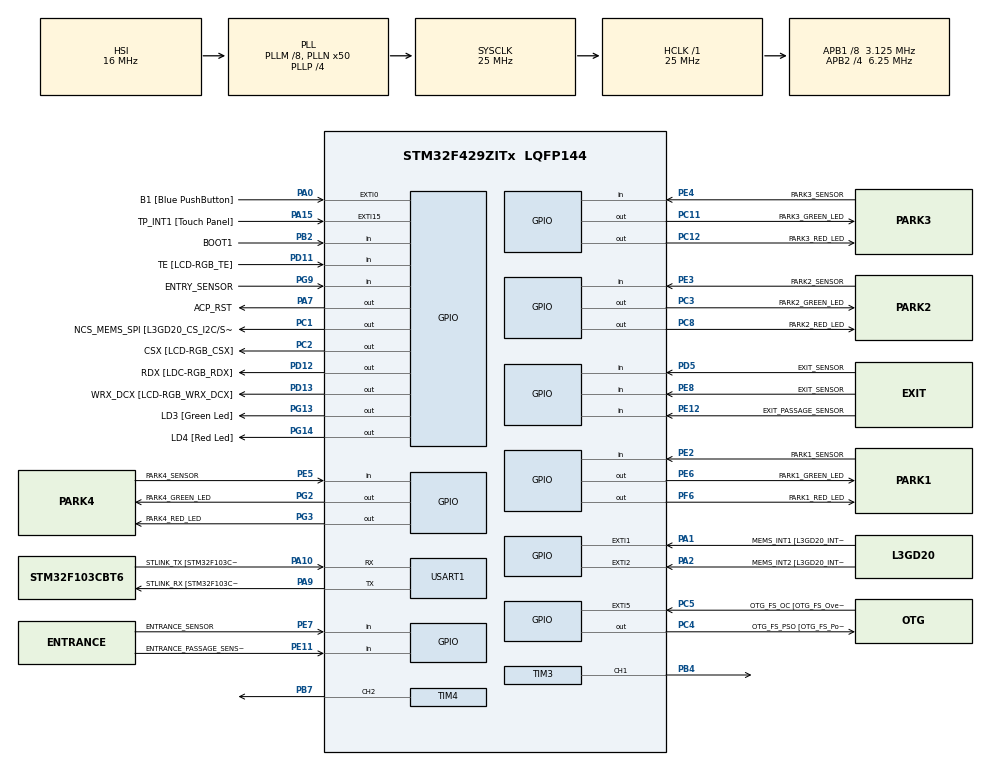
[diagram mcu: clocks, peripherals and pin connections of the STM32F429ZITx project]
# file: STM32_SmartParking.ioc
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Mcu.Family=STM32F4
Mcu.Name=STM32F429ZITx
Mcu.Package=LQFP144
NVIC.PriorityGroup=NVIC_PRIORITYGROUP_0
PA0/WKUP.GPIO_Label=B1 [Blue PushButton]
PA0/WKUP.GPIO_ModeDefaultEXTI=GPIO_MODE_EVT_RISING
PA0/WKUP.GPIO_PuPd=GPIO_NOPULL
PA0/WKUP.Signal=GPXTI0
PA1.GPIO_Label=MEMS_INT1 [L3GD20_INT1]
PA1.GPIO_ModeDefaultEXTI=GPIO_MODE_EVT_RISING
PA1.GPIO_PuPd=GPIO_NOPULL
PA1.Signal=GPXTI1
PA10.GPIO_Label=STLINK_TX [STM32F103CBT6_PA2]
PA10.Mode=Asynchronous
PA10.Signal=USART1_RX
PA11.GPIO_Label=R4
PA11.GPIO_Mode=GPIO_MODE_AF_PP
PA11.GPIO_PuPd=GPIO_NOPULL
PA11.GPIO_Speed=GPIO_SPEED_FREQ_LOW
PA11.Signal=LTDC_R4
PA12.GPIO_Label=R5
PA12.GPIO_Mode=GPIO_MODE_AF_PP
PA12.GPIO_PuPd=GPIO_NOPULL
PA12.GPIO_Speed=GPIO_SPEED_FREQ_LOW
PA12.Signal=LTDC_R5
PA13.GPIO_Label=SWDIO
PA13.Mode=Serial_Wire
PA13.Signal=SYS_JTMS-SWDIO
PA14.GPIO_Label=SWCLK
PA14.Mode=Serial_Wire
PA14.Signal=SYS_JTCK-SWCLK
PA15.GPIO_Label=TP_INT1 [Touch Panel]
PA15.GPIO_ModeDefaultEXTI=GPIO_MODE_EVT_RISING
PA15.GPIO_PuPd=GPIO_NOPULL
PA15.Signal=GPXTI15
PA2.GPIO_Label=MEMS_INT2 [L3GD20_INT2]
PA2.GPIO_ModeDefaultEXTI=GPIO_MODE_EVT_RISING
PA2.GPIO_PuPd=GPIO_NOPULL
PA2.Signal=GPXTI2
PA3.GPIO_Label=B5
PA3.GPIO_Mode=GPIO_MODE_AF_PP
PA3.GPIO_PuPd=GPIO_NOPULL
PA3.GPIO_Speed=GPIO_SPEED_FREQ_LOW
PA3.Signal=LTDC_B5
PA4.GPIO_Label=VSYNC
PA4.GPIO_Mode=GPIO_MODE_AF_PP
PA4.GPIO_PuPd=GPIO_NOPULL
PA4.GPIO_Speed=GPIO_SPEED_FREQ_LOW
PA4.Signal=LTDC_VSYNC
PA6.GPIO_Label=G2
PA6.GPIO_Mode=GPIO_MODE_AF_PP
PA6.GPIO_PuPd=GPIO_NOPULL
PA6.GPIO_Speed=GPIO_SPEED_FREQ_LOW
PA6.Signal=LTDC_G2
PA7.GPIO_Label=ACP_RST
PA7.GPIO_Mode=GPIO_MODE_OUTPUT_PP
PA7.GPIO_PuPd=GPIO_NOPULL
PA7.GPIO_Speed=GPIO_SPEED_FREQ_LOW
PA7.Signal=GPIO_Output
PA8.GPIO_Label=I2C3_SCL [ACP/RF_SCL]
PA8.GPIO_Mode=GPIO_MODE_AF_OD
PA8.GPIO_PuPd=GPIO_NOPULL
PA8.GPIO_Speed=GPIO_SPEED_FREQ_LOW
PA8.Signal=I2C3_SCL
PA9.GPIO_Label=STLINK_RX [STM32F103CBT6_PA3]
PA9.Mode=Asynchronous
PA9.Signal=USART1_TX
PA9.Stacked=true
PB0.GPIO_Label=R3
PB0.GPIO_Mode=GPIO_MODE_AF_PP
PB0.GPIO_PuPd=GPIO_NOPULL
PB0.GPIO_Speed=GPIO_SPEED_FREQ_LOW
PB0.Signal=LTDC_R3
PB1.GPIO_Label=R6
PB1.GPIO_Mode=GPIO_MODE_AF_PP
PB1.GPIO_PuPd=GPIO_NOPULL
PB1.GPIO_Speed=GPIO_SPEED_FREQ_LOW
PB1.Signal=LTDC_R6
PB10.GPIO_Label=G4
PB10.GPIO_Mode=GPIO_MODE_AF_PP
PB10.GPIO_PuPd=GPIO_NOPULL
PB10.GPIO_Speed=GPIO_SPEED_FREQ_LOW
PB10.Signal=LTDC_G4
PB11.GPIO_Label=G5
PB11.GPIO_Mode=GPIO_MODE_AF_PP
PB11.GPIO_PuPd=GPIO_NOPULL
PB11.GPIO_Speed=GPIO_SPEED_FREQ_LOW
PB11.Signal=LTDC_G5
PB12.GPIO_Label=OTG_HS_ID
PB12.GPIO_Mode=GPIO_MODE_AF_PP
PB12.GPIO_PuPd=GPIO_NOPULL
PB12.GPIO_Speed=GPIO_SPEED_FREQ_LOW
PB12.Signal=USB_OTG_HS_ID
PB13.GPIO_Label=VBUS_HS
PB13.GPIO_Mode=GPIO_MODE_INPUT
PB13.GPIO_PuPd=GPIO_NOPULL
PB13.Signal=USB_OTG_HS_VBUS
PB14.GPIO_Label=OTG_HS_DM
PB14.GPIO_Mode=GPIO_MODE_AF_PP
PB14.GPIO_PuPd=GPIO_NOPULL
PB14.GPIO_Speed=GPIO_SPEED_FREQ_LOW
PB14.Signal=USB_OTG_HS_DM
PB15.GPIO_Label=OTG_HS_DP
PB15.GPIO_Mode=GPIO_MODE_AF_PP
PB15.GPIO_PuPd=GPIO_NOPULL
PB15.GPIO_Speed=GPIO_SPEED_FREQ_LOW
PB15.Signal=USB_OTG_HS_DP
PB2/BOOT1.GPIO_Label=BOOT1
PB2/BOOT1.GPIO_Mode=GPIO_MODE_INPUT
PB2/BOOT1.GPIO_PuPd=GPIO_NOPULL
PB2/BOOT1.Signal=GPIO_Input
PB4.Signal=S_TIM3_CH1
PB5.GPIO_Label=SDCKE1
PB5.GPIO_Mode=GPIO_MODE_AF_PP
PB5.GPIO_PuPd=GPIO_NOPULL
PB5.GPIO_Speed=GPIO_SPEED_FREQ_VERY_HIGH
PB5.Signal=FMC_SDCKE1
PB6.GPIO_Label=SDNE1 [SDRAM_CS]
PB6.GPIO_Mode=GPIO_MODE_AF_PP
PB6.GPIO_PuPd=GPIO_NOPULL
PB6.GPIO_Speed=GPIO_SPEED_FREQ_VERY_HIGH
PB6.Signal=FMC_SDNE1
PB7.Signal=S_TIM4_CH2
PB8.GPIO_Label=B6
PB8.GPIO_Mode=GPIO_MODE_AF_PP
PB8.GPIO_PuPd=GPIO_NOPULL
PB8.GPIO_Speed=GPIO_SPEED_FREQ_LOW
PB8.Signal=LTDC_B6
PB9.GPIO_Label=B7
PB9.GPIO_Mode=GPIO_MODE_AF_PP
PB9.GPIO_PuPd=GPIO_NOPULL
PB9.GPIO_Speed=GPIO_SPEED_FREQ_LOW
PB9.Signal=LTDC_B7
PC0.GPIO_Label=SDNWE
PC0.GPIO_Mode=GPIO_MODE_AF_PP
PC0.GPIO_PuPd=GPIO_NOPULL
PC0.GPIO_Speed=GPIO_SPEED_FREQ_VERY_HIGH
PC0.Signal=FMC_SDNWE
PC1.GPIO_Label=NCS_MEMS_SPI [L3GD20_CS_I2C/SPI]
PC1.GPIO_Mode=GPIO_MODE_OUTPUT_PP
PC1.GPIO_PuPd=GPIO_NOPULL
PC1.GPIO_Speed=GPIO_SPEED_FREQ_LOW
PC1.Signal=GPIO_Output
PC10.GPIO_Label=R2
PC10.GPIO_Mode=GPIO_MODE_AF_PP
PC10.GPIO_PuPd=GPIO_NOPULL
PC10.GPIO_Speed=GPIO_SPEED_FREQ_LOW
PC10.Signal=LTDC_R2
PC11.GPIO_Label=PARK3_GREEN_LED
PC11.Signal=GPIO_Output
PC12.GPIO_Label=PARK3_RED_LED
PC12.Signal=GPIO_Output
PC14/OSC32_IN.GPIO_Label=PC14-OSC32_IN
PC14/OSC32_IN.Signal=RCC_OSC32_IN
PC15/OSC32_OUT.GPIO_Label=PC15-OSC32_OUT
PC15/OSC32_OUT.Signal=RCC_OSC32_OUT
PC2.GPIO_Label=CSX [LCD-RGB_CSX]
PC2.GPIO_Mode=GPIO_MODE_OUTPUT_PP
PC2.GPIO_PuPd=GPIO_NOPULL
PC2.GPIO_Speed=GPIO_SPEED_FREQ_LOW
PC2.Signal=GPIO_Output
PC3.GPIO_Label=PARK2_GREEN_LED
PC3.Signal=GPIO_Output
PC4.GPIO_Label=OTG_FS_PSO [OTG_FS_PowerSwitchOn]
PC4.GPIO_Mode=GPIO_MODE_OUTPUT_PP
PC4.GPIO_PuPd=GPIO_NOPULL
PC4.GPIO_Speed=GPIO_SPEED_FREQ_LOW
PC4.Signal=GPIO_Output
PC5.GPIO_Label=OTG_FS_OC [OTG_FS_OverCurrent]
PC5.GPIO_ModeDefaultEXTI=GPIO_MODE_EVT_RISING
PC5.Signal=GPXTI5
PC6.GPIO_Label=HSYNC
PC6.GPIO_Mode=GPIO_MODE_AF_PP
PC6.GPIO_PuPd=GPIO_NOPULL
PC6.GPIO_Speed=GPIO_SPEED_FREQ_LOW
PC6.Signal=LTDC_HSYNC
PC7.GPIO_Label=G6
PC7.GPIO_Mode=GPIO_MODE_AF_PP
PC7.GPIO_PuPd=GPIO_NOPULL
PC7.GPIO_Speed=GPIO_SPEED_FREQ_LOW
PC7.Signal=LTDC_G6
PC8.GPIO_Label=PARK2_RED_LED
PC8.Signal=GPIO_Output
PC9.GPIO_Label=I2C3_SDA [ACP/RF_SDA]
PC9.GPIO_Mode=GPIO_MODE_AF_OD
PC9.GPIO_PuPd=GPIO_NOPULL
PC9.GPIO_Speed=GPIO_SPEED_FREQ_LOW
PC9.Signal=I2C3_SDA
PD0.GPIO_Label=D2
PD0.GPIO_Mode=GPIO_MODE_AF_PP
PD0.GPIO_PuPd=GPIO_NOPULL
PD0.GPIO_Speed=GPIO_SPEED_FREQ_VERY_HIGH
PD0.Signal=FMC_D2_DA2
PD1.GPIO_Label=D3
PD1.GPIO_Mode=GPIO_MODE_AF_PP
PD1.GPIO_PuPd=GPIO_NOPULL
PD1.GPIO_Speed=GPIO_SPEED_FREQ_VERY_HIGH
PD1.Signal=FMC_D3_DA3
PD10.GPIO_Label=D15
PD10.GPIO_Mode=GPIO_MODE_AF_PP
PD10.GPIO_PuPd=GPIO_NOPULL
PD10.GPIO_Speed=GPIO_SPEED_FREQ_VERY_HIGH
PD10.Signal=FMC_D15_DA15
PD11.GPIO_Label=TE [LCD-RGB_TE]
PD11.GPIO_Mode=GPIO_MODE_INPUT
PD11.GPIO_PuPd=GPIO_NOPULL
PD11.Signal=GPIO_Input
PD12.GPIO_Label=RDX [LDC-RGB_RDX]
PD12.GPIO_Mode=GPIO_MODE_OUTPUT_PP
PD12.GPIO_PuPd=GPIO_NOPULL
PD12.GPIO_Speed=GPIO_SPEED_FREQ_LOW
PD12.Signal=GPIO_Output
PD13.GPIO_Label=WRX_DCX [LCD-RGB_WRX_DCX]
PD13.GPIO_Mode=GPIO_MODE_OUTPUT_PP
PD13.GPIO_PuPd=GPIO_NOPULL
PD13.GPIO_Speed=GPIO_SPEED_FREQ_LOW
PD13.Signal=GPIO_Output
PD14.GPIO_Label=D0
PD14.GPIO_Mode=GPIO_MODE_AF_PP
PD14.GPIO_PuPd=GPIO_NOPULL
PD14.GPIO_Speed=GPIO_SPEED_FREQ_VERY_HIGH
PD14.Signal=FMC_D0_DA0
PD15.GPIO_Label=D1
PD15.GPIO_Mode=GPIO_MODE_AF_PP
PD15.GPIO_PuPd=GPIO_NOPULL
PD15.GPIO_Speed=GPIO_SPEED_FREQ_VERY_HIGH
PD15.Signal=FMC_D1_DA1
PD3.GPIO_Label=G7
PD3.GPIO_Mode=GPIO_MODE_AF_PP
PD3.GPIO_PuPd=GPIO_NOPULL
PD3.GPIO_Speed=GPIO_SPEED_FREQ_LOW
PD3.Signal=LTDC_G7
PD5.GPIO_Label=EXIT_SENSOR
PD5.Signal=GPIO_Input
PD6.GPIO_Label=B2
PD6.GPIO_Mode=GPIO_MODE_AF_PP
PD6.GPIO_PuPd=GPIO_NOPULL
PD6.GPIO_Speed=GPIO_SPEED_FREQ_LOW
PD6.Signal=LTDC_B2
PD8.GPIO_Label=D13
PD8.GPIO_Mode=GPIO_MODE_AF_PP
PD8.GPIO_PuPd=GPIO_NOPULL
PD8.GPIO_Speed=GPIO_SPEED_FREQ_VERY_HIGH
PD8.Signal=FMC_D13_DA13
PD9.GPIO_Label=D14
PD9.GPIO_Mode=GPIO_MODE_AF_PP
PD9.GPIO_PuPd=GPIO_NOPULL
PD9.GPIO_Speed=GPIO_SPEED_FREQ_VERY_HIGH
PD9.Signal=FMC_D14_DA14
PE0.GPIO_Label=NBL0 [SDRAM_LDQM]
PE0.GPIO_Mode=GPIO_MODE_AF_PP
PE0.GPIO_PuPd=GPIO_NOPULL
PE0.GPIO_Speed=GPIO_SPEED_FREQ_VERY_HIGH
PE0.Signal=FMC_NBL0
PE1.GPIO_Label=NBL1 [SDRAM_UDQM]
PE1.GPIO_Mode=GPIO_MODE_AF_PP
PE1.GPIO_PuPd=GPIO_NOPULL
PE1.GPIO_Speed=GPIO_SPEED_FREQ_VERY_HIGH
PE1.Signal=FMC_NBL1
PE10.GPIO_Label=D7
PE10.GPIO_Mode=GPIO_MODE_AF_PP
PE10.GPIO_PuPd=GPIO_NOPULL
PE10.GPIO_Speed=GPIO_SPEED_FREQ_VERY_HIGH
PE10.Signal=FMC_D7_DA7
PE11.GPIO_Label=ENTRANCE_PASSAGE_SENSOR
PE11.GPIO_PuPd=GPIO_PULLUP
PE11.Signal=GPIO_Input
PE12.GPIO_Label=EXIT_PASSAGE_SENSOR
PE12.GPIO_PuPd=GPIO_PULLUP
PE12.Signal=GPIO_Input
PE13.GPIO_Label=D10
PE13.GPIO_Mode=GPIO_MODE_AF_PP
PE13.GPIO_PuPd=GPIO_NOPULL
PE13.GPIO_Speed=GPIO_SPEED_FREQ_VERY_HIGH
PE13.Signal=FMC_D10_DA10
PE14.GPIO_Label=D11
PE14.GPIO_Mode=GPIO_MODE_AF_PP
PE14.GPIO_PuPd=GPIO_NOPULL
PE14.GPIO_Speed=GPIO_SPEED_FREQ_VERY_HIGH
PE14.Signal=FMC_D11_DA11
PE15.GPIO_Label=D12
PE15.GPIO_Mode=GPIO_MODE_AF_PP
PE15.GPIO_PuPd=GPIO_NOPULL
PE15.GPIO_Speed=GPIO_SPEED_FREQ_VERY_HIGH
PE15.Signal=FMC_D12_DA12
PE2.GPIO_Label=PARK1_SENSOR
PE2.Signal=GPIO_Input
PE3.GPIO_Label=PARK2_SENSOR
PE3.Signal=GPIO_Input
PE4.GPIO_Label=PARK3_SENSOR
PE4.Signal=GPIO_Input
PE5.GPIO_Label=PARK4_SENSOR
PE5.Signal=GPIO_Input
PE6.GPIO_Label=PARK1_GREEN_LED
PE6.Signal=GPIO_Output
PE7.GPIO_Label=ENTRANCE_SENSOR
PE7.GPIO_PuPd=GPIO_PULLUP
PE7.Signal=GPIO_Input
PE8.GPIO_Label=EXIT_SENSOR
PE8.GPIO_PuPd=GPIO_PULLUP
PE8.Signal=GPIO_Input
PE9.GPIO_Label=D6
PE9.GPIO_Mode=GPIO_MODE_AF_PP
PE9.GPIO_PuPd=GPIO_NOPULL
PE9.GPIO_Speed=GPIO_SPEED_FREQ_VERY_HIGH
PE9.Signal=FMC_D6_DA6
PF0.GPIO_Label=A0
PF0.GPIO_Mode=GPIO_MODE_AF_PP
PF0.GPIO_PuPd=GPIO_NOPULL
PF0.GPIO_Speed=GPIO_SPEED_FREQ_VERY_HIGH
PF0.Signal=FMC_A0
PF1.GPIO_Label=A1
PF1.GPIO_Mode=GPIO_MODE_AF_PP
PF1.GPIO_PuPd=GPIO_NOPULL
PF1.GPIO_Speed=GPIO_SPEED_FREQ_VERY_HIGH
PF1.Signal=FMC_A1
PF10.GPIO_Label=ENABLE [LCD-RGB_ENABLE]
PF10.GPIO_Mode=GPIO_MODE_AF_PP
PF10.GPIO_PuPd=GPIO_NOPULL
PF10.GPIO_Speed=GPIO_SPEED_FREQ_LOW
PF10.Signal=LTDC_DE
PF11.GPIO_Label=SDNRAS
PF11.GPIO_Mode=GPIO_MODE_AF_PP
PF11.GPIO_PuPd=GPIO_NOPULL
PF11.GPIO_Speed=GPIO_SPEED_FREQ_VERY_HIGH
PF11.Signal=FMC_SDNRAS
PF12.GPIO_Label=A6
PF12.GPIO_Mode=GPIO_MODE_AF_PP
PF12.GPIO_PuPd=GPIO_NOPULL
PF12.GPIO_Speed=GPIO_SPEED_FREQ_VERY_HIGH
PF12.Signal=FMC_A6
PF13.GPIO_Label=A7
PF13.GPIO_Mode=GPIO_MODE_AF_PP
PF13.GPIO_PuPd=GPIO_NOPULL
PF13.GPIO_Speed=GPIO_SPEED_FREQ_VERY_HIGH
PF13.Signal=FMC_A7
PF14.GPIO_Label=A8
PF14.GPIO_Mode=GPIO_MODE_AF_PP
PF14.GPIO_PuPd=GPIO_NOPULL
PF14.GPIO_Speed=GPIO_SPEED_FREQ_VERY_HIGH
PF14.Signal=FMC_A8
PF15.GPIO_Label=A9
PF15.GPIO_Mode=GPIO_MODE_AF_PP
PF15.GPIO_PuPd=GPIO_NOPULL
PF15.GPIO_Speed=GPIO_SPEED_FREQ_VERY_HIGH
PF15.Signal=FMC_A9
PF2.GPIO_Label=A2
PF2.GPIO_Mode=GPIO_MODE_AF_PP
PF2.GPIO_PuPd=GPIO_NOPULL
PF2.GPIO_Speed=GPIO_SPEED_FREQ_VERY_HIGH
PF2.Signal=FMC_A2
PF3.GPIO_Label=A3
PF3.GPIO_Mode=GPIO_MODE_AF_PP
PF3.GPIO_PuPd=GPIO_NOPULL
PF3.GPIO_Speed=GPIO_SPEED_FREQ_VERY_HIGH
PF3.Signal=FMC_A3
PF4.GPIO_Label=A4
PF4.GPIO_Mode=GPIO_MODE_AF_PP
PF4.GPIO_PuPd=GPIO_NOPULL
PF4.GPIO_Speed=GPIO_SPEED_FREQ_VERY_HIGH
PF4.Signal=FMC_A4
PF5.GPIO_Label=A5
PF5.GPIO_Mode=GPIO_MODE_AF_PP
PF5.GPIO_PuPd=GPIO_NOPULL
PF5.GPIO_Speed=GPIO_SPEED_FREQ_VERY_HIGH
PF5.Signal=FMC_A5
PF6.GPIO_Label=PARK1_RED_LED
PF6.GPIO_ModeDefaultOutputPP=GPIO_MODE_OUTPUT_PP
PF6.GPIO_PuPd=GPIO_NOPULL
PF6.Signal=GPIO_Output
PF7.GPIO_Label=SPI5_SCK [L3GD20_SCL/SPC]
PF7.GPIO_Mode=GPIO_MODE_AF_PP
PF7.GPIO_PuPd=GPIO_NOPULL
PF7.GPIO_Speed=GPIO_SPEED_FREQ_LOW
PF7.Signal=SPI5_SCK
PF8.GPIO_Label=SPI5_MISO [L3GD20_SDO]
PF8.GPIO_Mode=GPIO_MODE_AF_PP
PF8.GPIO_PuPd=GPIO_NOPULL
PF8.GPIO_Speed=GPIO_SPEED_FREQ_LOW
PF8.Signal=SPI5_MISO
PF9.GPIO_Label=SPI5_MOSI [L3GD20_SDA/SDI/SDO]
PF9.GPIO_Mode=GPIO_MODE_AF_PP
PF9.GPIO_PuPd=GPIO_NOPULL
PF9.GPIO_Speed=GPIO_SPEED_FREQ_LOW
PF9.Signal=SPI5_MOSI
PG0.GPIO_Label=A10
PG0.GPIO_Mode=GPIO_MODE_AF_PP
PG0.GPIO_PuPd=GPIO_NOPULL
PG0.GPIO_Speed=GPIO_SPEED_FREQ_VERY_HIGH
PG0.Signal=FMC_A10
PG1.GPIO_Label=A11
PG1.GPIO_Mode=GPIO_MODE_AF_PP
PG1.GPIO_PuPd=GPIO_NOPULL
PG1.GPIO_Speed=GPIO_SPEED_FREQ_VERY_HIGH
PG1.Signal=FMC_A11
PG10.GPIO_Label=G3
PG10.GPIO_Mode=GPIO_MODE_AF_PP
PG10.GPIO_PuPd=GPIO_NOPULL
PG10.GPIO_Speed=GPIO_SPEED_FREQ_LOW
PG10.Signal=LTDC_G3
PG11.GPIO_Label=B3
PG11.GPIO_Mode=GPIO_MODE_AF_PP
PG11.GPIO_PuPd=GPIO_NOPULL
PG11.GPIO_Speed=GPIO_SPEED_FREQ_LOW
PG11.Signal=LTDC_B3
PG12.GPIO_Label=B4
PG12.GPIO_Mode=GPIO_MODE_AF_PP
PG12.GPIO_PuPd=GPIO_NOPULL
PG12.GPIO_Speed=GPIO_SPEED_FREQ_LOW
PG12.Signal=LTDC_B4
PG13.GPIO_Label=LD3 [Green Led]
PG13.GPIO_Mode=GPIO_MODE_OUTPUT_PP
PG13.GPIO_PuPd=GPIO_NOPULL
PG13.GPIO_Speed=GPIO_SPEED_FREQ_LOW
PG13.Signal=GPIO_Output
PG14.GPIO_Label=LD4 [Red Led]
PG14.GPIO_Mode=GPIO_MODE_OUTPUT_PP
PG14.GPIO_PuPd=GPIO_NOPULL
PG14.GPIO_Speed=GPIO_SPEED_FREQ_LOW
PG14.Signal=GPIO_Output
PG15.GPIO_Label=SDNCAS
PG15.GPIO_Mode=GPIO_MODE_AF_PP
PG15.GPIO_PuPd=GPIO_NOPULL
PG15.GPIO_Speed=GPIO_SPEED_FREQ_VERY_HIGH
PG15.Signal=FMC_SDNCAS
PG2.GPIO_Label=PARK4_GREEN_LED
PG2.Signal=GPIO_Output
PG3.GPIO_Label=PARK4_RED_LED
PG3.Signal=GPIO_Output
PG4.GPIO_Label=BA0
PG4.GPIO_Mode=GPIO_MODE_AF_PP
PG4.GPIO_PuPd=GPIO_NOPULL
PG4.GPIO_Speed=GPIO_SPEED_FREQ_VERY_HIGH
PG4.Signal=FMC_A14_BA0
PG5.GPIO_Label=BA1
PG5.GPIO_Mode=GPIO_MODE_AF_PP
PG5.GPIO_PuPd=GPIO_NOPULL
PG5.GPIO_Speed=GPIO_SPEED_FREQ_VERY_HIGH
PG5.Signal=FMC_A15_BA1
PG6.GPIO_Label=R7
PG6.GPIO_Mode=GPIO_MODE_AF_PP
PG6.GPIO_PuPd=GPIO_NOPULL
PG6.GPIO_Speed=GPIO_SPEED_FREQ_LOW
PG6.Signal=LTDC_R7
PG7.GPIO_Label=DOTCLK [LCT-RGB_DOTCLK]
PG7.GPIO_Mode=GPIO_MODE_AF_PP
PG7.GPIO_PuPd=GPIO_NOPULL
PG7.GPIO_Speed=GPIO_SPEED_FREQ_LOW
PG7.Signal=LTDC_CLK
PG8.GPIO_Label=SDCLK
PG8.GPIO_Mode=GPIO_MODE_AF_PP
PG8.GPIO_PuPd=GPIO_NOPULL
PG8.GPIO_Speed=GPIO_SPEED_FREQ_VERY_HIGH
PG8.Signal=FMC_SDCLK
PG9.GPIO_Label=ENTRY_SENSOR
PG9.Signal=GPIO_Input
PH0/OSC_IN.GPIO_Label=PH0-OSC_IN
PH0/OSC_IN.Signal=RCC_OSC_IN
PH1/OSC_OUT.GPIO_Label=PH1-OSC_OUT
PH1/OSC_OUT.Signal=RCC_OSC_OUT
ProjectManager.HeapSize=0x200
ProjectManager.StackSize=0x400
ProjectManager.TargetToolchain=STM32CubeIDE
RCC.48MHZClocksFreq_Value=14285714.285714285
RCC.AHBFreq_Value=25000000
RCC.APB1CLKDivider=RCC_HCLK_DIV8
RCC.APB1Freq_Value=3125000
RCC.APB1TimFreq_Value=6250000
RCC.APB2CLKDivider=RCC_HCLK_DIV4
RCC.APB2Freq_Value=6250000
RCC.APB2TimFreq_Value=12500000
RCC.CortexFreq_Value=25000000
RCC.HCLKFreq_Value=25000000
RCC.HSE_VALUE=8000000
RCC.HSI_VALUE=16000000
RCC.LSE_VALUE=32768
RCC.PLLM=8
RCC.PLLN=50
RCC.PLLP=RCC_PLLP_DIV4
RCC.PLLQ=7
RCC.SYSCLKFreq_VALUE=25000000
RCC.SYSCLKSource=RCC_SYSCLKSOURCE_PLLCLK
RCC.VCOOutputFreq_Value=100000000
SH.FMC_A0.0=FMC_A0
SH.FMC_A1.0=FMC_A1
SH.FMC_A10.0=FMC_A10
SH.FMC_A11.0=FMC_A11
SH.FMC_A14_BA0.0=FMC_BA0
SH.FMC_A15_BA1.0=FMC_BA1
SH.FMC_A2.0=FMC_A2
SH.FMC_A3.0=FMC_A3
SH.FMC_A4.0=FMC_A4
SH.FMC_A5.0=FMC_A5
SH.FMC_A6.0=FMC_A6
SH.FMC_A7.0=FMC_A7
SH.FMC_A8.0=FMC_A8
SH.FMC_A9.0=FMC_A9
SH.FMC_D0_DA0.0=FMC_D0
SH.FMC_D10_DA10.0=FMC_D10
SH.FMC_D11_DA11.0=FMC_D11
SH.FMC_D12_DA12.0=FMC_D12
SH.FMC_D13_DA13.0=FMC_D13
SH.FMC_D14_DA14.0=FMC_D14
SH.FMC_D15_DA15.0=FMC_D15
SH.FMC_D1_DA1.0=FMC_D1
SH.FMC_D2_DA2.0=FMC_D2
SH.FMC_D3_DA3.0=FMC_D3
SH.FMC_D6_DA6.0=FMC_D6
SH.FMC_D7_DA7.0=FMC_D7
SH.FMC_NBL0.0=FMC_NBL0
SH.FMC_NBL1.0=FMC_NBL1
SH.FMC_SDCLK.0=FMC_SDCLK
SH.FMC_SDNCAS.0=FMC_SDNCAS
SH.FMC_SDNRAS.0=FMC_SDNRAS
SH.FMC_SDNWE.0=FMC_SDNWE
SH.S_TIM3_CH1.0=TIM3_CH1,PWM Generation1 CH1
SH.S_TIM4_CH2.0=TIM4_CH2,PWM Generation2 CH2
TIM3.Channel-PWM\ Generation1\ CH1=TIM_CHANNEL_1
TIM3.Period=24999
TIM3.Prescaler=4
TIM3.Pulse-PWM\ Generation1\ CH1=1250
TIM4.Channel-PWM\ Generation2\ CH2=TIM_CHANNEL_2
TIM4.Period=24999
TIM4.Prescaler=4
TIM4.Pulse-PWM\ Generation2\ CH2=1250
USART1.VirtualMode=VM_ASYNC
VP_TIM3_VS_ClockSourceINT.Mode=Internal
VP_TIM4_VS_ClockSourceINT.Mode=Internal
board=STM32F429I-DISC1

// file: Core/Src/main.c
/* USER CODE BEGIN Header */
/**
  ******************************************************************************
  * @file           : main.c
  * @brief          : Main program body
  ******************************************************************************
  * @attention
  *
  * Copyright (c) 2026 STMicroelectronics.
  * All rights reserved.
  *
  * This software is licensed under terms that can be found in the LICENSE file
  * in the root directory of this software component.
  * If no LICENSE file comes with this software, it is provided AS-IS.
  *
  ******************************************************************************
  */
/* USER CODE END Header */
#include "main.h"

/* USER CODE BEGIN Includes */
#include "parking_manager.h"
#include "barrier_controller.h"
#include "vehicle_detector.h"
/* USER CODE END Includes */

TIM_HandleTypeDef htim3;
TIM_HandleTypeDef htim4;

UART_HandleTypeDef huart1;

/* USER CODE BEGIN PV */
volatile uint8_t parking_occupancy_status = 0U;  // Variable to store the parking occupancy status
volatile uint8_t entrance_request_pending = 0U;
volatile uint8_t exit_request_pending = 0U;

ParkingManager parking_manager;

BarrierController entrance_barrier;
BarrierController exit_barrier;

VehicleDetector entrance_detector;
VehicleDetector exit_detector;

bool previous_entrance_detected = false;
bool previous_exit_detected = false;

VehicleDetector entrance_passage_detector;
VehicleDetector exit_passage_detector;

/* USER CODE END PV */

void SystemClock_Config(void);
static void MX_GPIO_Init(void);
static void MX_TIM3_Init(void);
static void MX_TIM4_Init(void);
static void MX_USART1_UART_Init(void);

int main(void)
{

  /* MCU Configuration--------------------------------------------------------*/

  /* Reset of all peripherals, Initializes the Flash interface and the Systick. */
  HAL_Init();

  /* Configure the system clock */
  SystemClock_Config();

  /* Initialize all configured peripherals */
  MX_GPIO_Init();
  MX_TIM3_Init();
  MX_TIM4_Init();
  MX_USART1_UART_Init();
  /* USER CODE BEGIN 2 */
  ParkingManager_Init(&parking_manager);

  BarrierController_Init(&entrance_barrier);
  BarrierController_Init(&exit_barrier);

  VehicleDetector_Init(
      &entrance_detector,
      ENTRANCE_SENSOR_GPIO_Port,
      ENTRANCE_SENSOR_Pin,
      GPIO_PIN_RESET
  );

  VehicleDetector_Init(
      &exit_detector,
      EXIT_SENSOR_GPIO_Port,
      EXIT_SENSOR_Pin,
      GPIO_PIN_RESET
  );

  VehicleDetector_Init(
      &entrance_passage_detector,
      ENTRANCE_PASSAGE_SENSOR_GPIO_Port,
      ENTRANCE_PASSAGE_SENSOR_Pin,
      GPIO_PIN_RESET
  );

  VehicleDetector_Init(
      &exit_passage_detector,
      EXIT_PASSAGE_SENSOR_GPIO_Port,
      EXIT_PASSAGE_SENSOR_Pin,
      GPIO_PIN_RESET
  );
  /* USER CODE END 2 */

  /* Infinite loop */
  while (1)
  {

    /* USER CODE BEGIN 3 */

      // 1. Update parking spots
      ParkingManager_Update(&parking_manager);

      // 2. Store occupancy status
      parking_occupancy_status =
          ParkingManager_GetOccupancyMask(&parking_manager);

      // 3. Read entrance and exit sensors

      // Read vehicle detection sensors
      VehicleDetector_Update(&entrance_detector);
      VehicleDetector_Update(&exit_detector);

      // Read barrier passage sensors
      VehicleDetector_Update(&entrance_passage_detector);
      VehicleDetector_Update(&exit_passage_detector);

      /* Latch reported faults before opening requests or automatic closing. */
      if (VehicleDetector_HasFault(&entrance_detector) ||
          VehicleDetector_HasFault(&entrance_passage_detector))
      {
          BarrierController_ReportSensorFault(&entrance_barrier);
      }

      if (VehicleDetector_HasFault(&exit_detector) ||
          VehicleDetector_HasFault(&exit_passage_detector))
      {
          BarrierController_ReportSensorFault(&exit_barrier);
      }

      bool entrance_detected =
          VehicleDetector_IsDetected(&entrance_detector);

      bool exit_detected =
          VehicleDetector_IsDetected(&exit_detector);

      // 4. Detect new vehicle arrival
      if (entrance_detected && !previous_entrance_detected)
      {
          entrance_request_pending = 1U;
      }

      if (exit_detected && !previous_exit_detected)
      {
          exit_request_pending = 1U;
      }

      // 5. Save previous sensor states
      previous_entrance_detected = entrance_detected;
      previous_exit_detected = exit_detected;

      // 6. Process entrance request
      if (entrance_request_pending != 0U)
      {
          entrance_request_pending = 0U;

          uint8_t available_spaces =
              ParkingManager_GetAvailableCount(&parking_manager);

          (void)BarrierController_RequestEntranceOpen(
              &entrance_barrier,
              available_spaces
          );
      }

      // 7. Process exit request
      if (exit_request_pending != 0U)
      {
          exit_request_pending = 0U;

          (void)BarrierController_RequestExitOpen(&exit_barrier);
      }

      /* Update entrance barrier passage state */
      uint32_t now_ms = HAL_GetTick();

      BarrierController_UpdatePassage(
          &entrance_barrier,
          VehicleDetector_IsDetected(&entrance_passage_detector),
          now_ms
      );

      BarrierController_UpdatePassage(
          &exit_barrier,
          VehicleDetector_IsDetected(&exit_passage_detector),
          now_ms
      );

      HAL_Delay(50);
  }
  /* USER CODE END 3 */
}

void SystemClock_Config(void)
{
  RCC_OscInitTypeDef RCC_OscInitStruct = {0};
  RCC_ClkInitTypeDef RCC_ClkInitStruct = {0};

  /** Configure the main internal regulator output voltage
  */
  __HAL_RCC_PWR_CLK_ENABLE();
  __HAL_PWR_VOLTAGESCALING_CONFIG(PWR_REGULATOR_VOLTAGE_SCALE3);

  /** Initializes the RCC Oscillators according to the specified parameters
  * in the RCC_OscInitTypeDef structure.
  */
  RCC_OscInitStruct.OscillatorType = RCC_OSCILLATORTYPE_HSI;
  RCC_OscInitStruct.HSIState = RCC_HSI_ON;
  RCC_OscInitStruct.HSICalibrationValue = RCC_HSICALIBRATION_DEFAULT;
  RCC_OscInitStruct.PLL.PLLState = RCC_PLL_ON;
  RCC_OscInitStruct.PLL.PLLSource = RCC_PLLSOURCE_HSI;
  RCC_OscInitStruct.PLL.PLLM = 8;
  RCC_OscInitStruct.PLL.PLLN = 50;
  RCC_OscInitStruct.PLL.PLLP = RCC_PLLP_DIV4;
  RCC_OscInitStruct.PLL.PLLQ = 7;
  if (HAL_RCC_OscConfig(&RCC_OscInitStruct) != HAL_OK)
  {
    Error_Handler();
  }

  /** Initializes the CPU, AHB and APB buses clocks
  */
  RCC_ClkInitStruct.ClockType = RCC_CLOCKTYPE_HCLK|RCC_CLOCKTYPE_SYSCLK
                              |RCC_CLOCKTYPE_PCLK1|RCC_CLOCKTYPE_PCLK2;
  RCC_ClkInitStruct.SYSCLKSource = RCC_SYSCLKSOURCE_PLLCLK;
  RCC_ClkInitStruct.AHBCLKDivider = RCC_SYSCLK_DIV1;
  RCC_ClkInitStruct.APB1CLKDivider = RCC_HCLK_DIV8;
  RCC_ClkInitStruct.APB2CLKDivider = RCC_HCLK_DIV4;

  if (HAL_RCC_ClockConfig(&RCC_ClkInitStruct, FLASH_LATENCY_0) != HAL_OK)
  {
    Error_Handler();
  }
}

static void MX_TIM3_Init(void)
{

  TIM_ClockConfigTypeDef sClockSourceConfig = {0};
  TIM_MasterConfigTypeDef sMasterConfig = {0};
  TIM_OC_InitTypeDef sConfigOC = {0};

  htim3.Instance = TIM3;
  htim3.Init.Prescaler = 4;
  htim3.Init.CounterMode = TIM_COUNTERMODE_UP;
  htim3.Init.Period = 24999;
  htim3.Init.ClockDivision = TIM_CLOCKDIVISION_DIV1;
  htim3.Init.AutoReloadPreload = TIM_AUTORELOAD_PRELOAD_DISABLE;
  if (HAL_TIM_Base_Init(&htim3) != HAL_OK)
  {
    Error_Handler();
  }
  sClockSourceConfig.ClockSource = TIM_CLOCKSOURCE_INTERNAL;
  if (HAL_TIM_ConfigClockSource(&htim3, &sClockSourceConfig) != HAL_OK)
  {
    Error_Handler();
  }
  if (HAL_TIM_PWM_Init(&htim3) != HAL_OK)
  {
    Error_Handler();
  }
  sMasterConfig.MasterOutputTrigger = TIM_TRGO_RESET;
  sMasterConfig.MasterSlaveMode = TIM_MASTERSLAVEMODE_DISABLE;
  if (HAL_TIMEx_MasterConfigSynchronization(&htim3, &sMasterConfig) != HAL_OK)
  {
    Error_Handler();
  }
  sConfigOC.OCMode = TIM_OCMODE_PWM1;
  sConfigOC.Pulse = 1250;
  sConfigOC.OCPolarity = TIM_OCPOLARITY_HIGH;
  sConfigOC.OCFastMode = TIM_OCFAST_DISABLE;
  if (HAL_TIM_PWM_ConfigChannel(&htim3, &sConfigOC, TIM_CHANNEL_1) != HAL_OK)
  {
    Error_Handler();
  }
  HAL_TIM_MspPostInit(&htim3);

}

static void MX_TIM4_Init(void)
{

  TIM_ClockConfigTypeDef sClockSourceConfig = {0};
  TIM_MasterConfigTypeDef sMasterConfig = {0};
  TIM_OC_InitTypeDef sConfigOC = {0};

  htim4.Instance = TIM4;
  htim4.Init.Prescaler = 4;
  htim4.Init.CounterMode = TIM_COUNTERMODE_UP;
  htim4.Init.Period = 24999;
  htim4.Init.ClockDivision = TIM_CLOCKDIVISION_DIV1;
  htim4.Init.AutoReloadPreload = TIM_AUTORELOAD_PRELOAD_DISABLE;
  if (HAL_TIM_Base_Init(&htim4) != HAL_OK)
  {
    Error_Handler();
  }
  sClockSourceConfig.ClockSource = TIM_CLOCKSOURCE_INTERNAL;
  if (HAL_TIM_ConfigClockSource(&htim4, &sClockSourceConfig) != HAL_OK)
  {
    Error_Handler();
  }
  if (HAL_TIM_PWM_Init(&htim4) != HAL_OK)
  {
    Error_Handler();
  }
  sMasterConfig.MasterOutputTrigger = TIM_TRGO_RESET;
  sMasterConfig.MasterSlaveMode = TIM_MASTERSLAVEMODE_DISABLE;
  if (HAL_TIMEx_MasterConfigSynchronization(&htim4, &sMasterConfig) != HAL_OK)
  {
    Error_Handler();
  }
  sConfigOC.OCMode = TIM_OCMODE_PWM1;
  sConfigOC.Pulse = 1250;
  sConfigOC.OCPolarity = TIM_OCPOLARITY_HIGH;
  sConfigOC.OCFastMode = TIM_OCFAST_DISABLE;
  if (HAL_TIM_PWM_ConfigChannel(&htim4, &sConfigOC, TIM_CHANNEL_2) != HAL_OK)
  {
    Error_Handler();
  }
  HAL_TIM_MspPostInit(&htim4);

}

static void MX_USART1_UART_Init(void)
{

  huart1.Instance = USART1;
  huart1.Init.BaudRate = 115200;
  huart1.Init.WordLength = UART_WORDLENGTH_8B;
  huart1.Init.StopBits = UART_STOPBITS_1;
  huart1.Init.Parity = UART_PARITY_NONE;
  huart1.Init.Mode = UART_MODE_TX_RX;
  huart1.Init.HwFlowCtl = UART_HWCONTROL_NONE;
  huart1.Init.OverSampling = UART_OVERSAMPLING_16;
  if (HAL_UART_Init(&huart1) != HAL_OK)
  {
    Error_Handler();
  }

}

static void MX_GPIO_Init(void)
{
  GPIO_InitTypeDef GPIO_InitStruct = {0};

  /* GPIO Ports Clock Enable */
  __HAL_RCC_GPIOE_CLK_ENABLE();
  __HAL_RCC_GPIOC_CLK_ENABLE();
  __HAL_RCC_GPIOF_CLK_ENABLE();
  __HAL_RCC_GPIOH_CLK_ENABLE();
  __HAL_RCC_GPIOA_CLK_ENABLE();
  __HAL_RCC_GPIOB_CLK_ENABLE();
  __HAL_RCC_GPIOG_CLK_ENABLE();
  __HAL_RCC_GPIOD_CLK_ENABLE();

  /*Configure GPIO pin Output Level */
  HAL_GPIO_WritePin(PARK1_GREEN_LED_GPIO_Port, PARK1_GREEN_LED_Pin, GPIO_PIN_RESET);

  /*Configure GPIO pin Output Level */
  HAL_GPIO_WritePin(PARK1_RED_LED_GPIO_Port, PARK1_RED_LED_Pin, GPIO_PIN_RESET);

  /*Configure GPIO pin Output Level */
  HAL_GPIO_WritePin(GPIOC, NCS_MEMS_SPI_Pin|CSX_Pin|PARK2_GREEN_LED_Pin|OTG_FS_PSO_Pin
                          |PARK2_RED_LED_Pin|PARK3_GREEN_LED_Pin|PARK3_RED_LED_Pin, GPIO_PIN_RESET);

  /*Configure GPIO pin Output Level */
  HAL_GPIO_WritePin(ACP_RST_GPIO_Port, ACP_RST_Pin, GPIO_PIN_RESET);

  /*Configure GPIO pin Output Level */
  HAL_GPIO_WritePin(GPIOD, RDX_Pin|WRX_DCX_Pin, GPIO_PIN_RESET);

  /*Configure GPIO pin Output Level */
  HAL_GPIO_WritePin(GPIOG, PARK4_GREEN_LED_Pin|PARK4_RED_LED_Pin|LD3_Pin|LD4_Pin, GPIO_PIN_RESET);

  /*Configure GPIO pins : PARK1_SENSOR_Pin PARK2_SENSOR_Pin PARK3_SENSOR_Pin PARK4_SENSOR_Pin */
  GPIO_InitStruct.Pin = PARK1_SENSOR_Pin|PARK2_SENSOR_Pin|PARK3_SENSOR_Pin|PARK4_SENSOR_Pin;
  GPIO_InitStruct.Mode = GPIO_MODE_INPUT;
  GPIO_InitStruct.Pull = GPIO_NOPULL;
  HAL_GPIO_Init(GPIOE, &GPIO_InitStruct);

  /*Configure GPIO pin : PARK1_GREEN_LED_Pin */
  GPIO_InitStruct.Pin = PARK1_GREEN_LED_Pin;
  GPIO_InitStruct.Mode = GPIO_MODE_OUTPUT_PP;
  GPIO_InitStruct.Pull = GPIO_NOPULL;
  GPIO_InitStruct.Speed = GPIO_SPEED_FREQ_LOW;
  HAL_GPIO_Init(PARK1_GREEN_LED_GPIO_Port, &GPIO_InitStruct);

  /*Configure GPIO pins : A0_Pin A1_Pin A2_Pin A3_Pin
                           A4_Pin A5_Pin SDNRAS_Pin A6_Pin
                           A7_Pin A8_Pin A9_Pin */
  GPIO_InitStruct.Pin = A0_Pin|A1_Pin|A2_Pin|A3_Pin
                          |A4_Pin|A5_Pin|SDNRAS_Pin|A6_Pin
                          |A7_Pin|A8_Pin|A9_Pin;
  GPIO_InitStruct.Mode = GPIO_MODE_AF_PP;
  GPIO_InitStruct.Pull = GPIO_NOPULL;
  GPIO_InitStruct.Speed = GPIO_SPEED_FREQ_VERY_HIGH;
  GPIO_InitStruct.Alternate = GPIO_AF12_FMC;
  HAL_GPIO_Init(GPIOF, &GPIO_InitStruct);

  /*Configure GPIO pin : PARK1_RED_LED_Pin */
  GPIO_InitStruct.Pin = PARK1_RED_LED_Pin;
  GPIO_InitStruct.Mode = GPIO_MODE_OUTPUT_PP;
  GPIO_InitStruct.Pull = GPIO_NOPULL;
  GPIO_InitStruct.Speed = GPIO_SPEED_FREQ_LOW;
  HAL_GPIO_Init(PARK1_RED_LED_GPIO_Port, &GPIO_InitStruct);

  /*Configure GPIO pins : SPI5_SCK_Pin SPI5_MISO_Pin SPI5_MOSI_Pin */
  GPIO_InitStruct.Pin = SPI5_SCK_Pin|SPI5_MISO_Pin|SPI5_MOSI_Pin;
  GPIO_InitStruct.Mode = GPIO_MODE_AF_PP;
  GPIO_InitStruct.Pull = GPIO_NOPULL;
  GPIO_InitStruct.Speed = GPIO_SPEED_FREQ_LOW;
  GPIO_InitStruct.Alternate = GPIO_AF5_SPI5;
  HAL_GPIO_Init(GPIOF, &GPIO_InitStruct);

  /*Configure GPIO pin : ENABLE_Pin */
  GPIO_InitStruct.Pin = ENABLE_Pin;
  GPIO_InitStruct.Mode = GPIO_MODE_AF_PP;
  GPIO_InitStruct.Pull = GPIO_NOPULL;
  GPIO_InitStruct.Speed = GPIO_SPEED_FREQ_LOW;
  GPIO_InitStruct.Alternate = GPIO_AF14_LTDC;
  HAL_GPIO_Init(ENABLE_GPIO_Port, &GPIO_InitStruct);

  /*Configure GPIO pin : SDNWE_Pin */
  GPIO_InitStruct.Pin = SDNWE_Pin;
  GPIO_InitStruct.Mode = GPIO_MODE_AF_PP;
  GPIO_InitStruct.Pull = GPIO_NOPULL;
  GPIO_InitStruct.Speed = GPIO_SPEED_FREQ_VERY_HIGH;
  GPIO_InitStruct.Alternate = GPIO_AF12_FMC;
  HAL_GPIO_Init(SDNWE_GPIO_Port, &GPIO_InitStruct);

  /*Configure GPIO pins : NCS_MEMS_SPI_Pin CSX_Pin PARK2_GREEN_LED_Pin OTG_FS_PSO_Pin
                           PARK2_RED_LED_Pin PARK3_GREEN_LED_Pin PARK3_RED_LED_Pin */
  GPIO_InitStruct.Pin = NCS_MEMS_SPI_Pin|CSX_Pin|PARK2_GREEN_LED_Pin|OTG_FS_PSO_Pin
                          |PARK2_RED_LED_Pin|PARK3_GREEN_LED_Pin|PARK3_RED_LED_Pin;
  GPIO_InitStruct.Mode = GPIO_MODE_OUTPUT_PP;
  GPIO_InitStruct.Pull = GPIO_NOPULL;
  GPIO_InitStruct.Speed = GPIO_SPEED_FREQ_LOW;
  HAL_GPIO_Init(GPIOC, &GPIO_InitStruct);

  /*Configure GPIO pins : B1_Pin MEMS_INT1_Pin MEMS_INT2_Pin TP_INT1_Pin */
  GPIO_InitStruct.Pin = B1_Pin|MEMS_INT1_Pin|MEMS_INT2_Pin|TP_INT1_Pin;
  GPIO_InitStruct.Mode = GPIO_MODE_EVT_RISING;
  GPIO_InitStruct.Pull = GPIO_NOPULL;
  HAL_GPIO_Init(GPIOA, &GPIO_InitStruct);

  /*Configure GPIO pins : B5_Pin VSYNC_Pin G2_Pin R4_Pin
                           R5_Pin */
  GPIO_InitStruct.Pin = B5_Pin|VSYNC_Pin|G2_Pin|R4_Pin
                          |R5_Pin;
  GPIO_InitStruct.Mode = GPIO_MODE_AF_PP;
  GPIO_InitStruct.Pull = GPIO_NOPULL;
  GPIO_InitStruct.Speed = GPIO_SPEED_FREQ_LOW;
  GPIO_InitStruct.Alternate = GPIO_AF14_LTDC;
  HAL_GPIO_Init(GPIOA, &GPIO_InitStruct);

  /*Configure GPIO pin : ACP_RST_Pin */
  GPIO_InitStruct.Pin = ACP_RST_Pin;
  GPIO_InitStruct.Mode = GPIO_MODE_OUTPUT_PP;
  GPIO_InitStruct.Pull = GPIO_NOPULL;
  GPIO_InitStruct.Speed = GPIO_SPEED_FREQ_LOW;
  HAL_GPIO_Init(ACP_RST_GPIO_Port, &GPIO_InitStruct);

  /*Configure GPIO pin : OTG_FS_OC_Pin */
  GPIO_InitStruct.Pin = OTG_FS_OC_Pin;
  GPIO_InitStruct.Mode = GPIO_MODE_EVT_RISING;
  GPIO_InitStruct.Pull = GPIO_NOPULL;
  HAL_GPIO_Init(OTG_FS_OC_GPIO_Port, &GPIO_InitStruct);

  /*Configure GPIO pins : R3_Pin R6_Pin */
  GPIO_InitStruct.Pin = R3_Pin|R6_Pin;
  GPIO_InitStruct.Mode = GPIO_MODE_AF_PP;
  GPIO_InitStruct.Pull = GPIO_NOPULL;
  GPIO_InitStruct.Speed = GPIO_SPEED_FREQ_LOW;
  GPIO_InitStruct.Alternate = GPIO_AF9_LTDC;
  HAL_GPIO_Init(GPIOB, &GPIO_InitStruct);

  /*Configure GPIO pin : BOOT1_Pin */
  GPIO_InitStruct.Pin = BOOT1_Pin;
  GPIO_InitStruct.Mode = GPIO_MODE_INPUT;
  GPIO_InitStruct.Pull = GPIO_NOPULL;
  HAL_GPIO_Init(BOOT1_GPIO_Port, &GPIO_InitStruct);

  /*Configure GPIO pins : A10_Pin A11_Pin BA0_Pin BA1_Pin
                           SDCLK_Pin SDNCAS_Pin */
  GPIO_InitStruct.Pin = A10_Pin|A11_Pin|BA0_Pin|BA1_Pin
                          |SDCLK_Pin|SDNCAS_Pin;
  GPIO_InitStruct.Mode = GPIO_MODE_AF_PP;
  GPIO_InitStruct.Pull = GPIO_NOPULL;
  GPIO_InitStruct.Speed = GPIO_SPEED_FREQ_VERY_HIGH;
  GPIO_InitStruct.Alternate = GPIO_AF12_FMC;
  HAL_GPIO_Init(GPIOG, &GPIO_InitStruct);

  /*Configure GPIO pins : ENTRANCE_SENSOR_Pin EXIT_SENSOR_Pin ENTRANCE_PASSAGE_SENSOR_Pin EXIT_PASSAGE_SENSOR_Pin */
  GPIO_InitStruct.Pin = ENTRANCE_SENSOR_Pin|EXIT_SENSOR_Pin|ENTRANCE_PASSAGE_SENSOR_Pin|EXIT_PASSAGE_SENSOR_Pin;
  GPIO_InitStruct.Mode = GPIO_MODE_INPUT;
  GPIO_InitStruct.Pull = GPIO_PULLUP;
  HAL_GPIO_Init(GPIOE, &GPIO_InitStruct);

  /*Configure GPIO pins : D6_Pin D7_Pin D10_Pin D11_Pin
                           D12_Pin NBL0_Pin NBL1_Pin */
  GPIO_InitStruct.Pin = D6_Pin|D7_Pin|D10_Pin|D11_Pin
                          |D12_Pin|NBL0_Pin|NBL1_Pin;
  GPIO_InitStruct.Mode = GPIO_MODE_AF_PP;
  GPIO_InitStruct.Pull = GPIO_NOPULL;
  GPIO_InitStruct.Speed = GPIO_SPEED_FREQ_VERY_HIGH;
  GPIO_InitStruct.Alternate = GPIO_AF12_FMC;
  HAL_GPIO_Init(GPIOE, &GPIO_InitStruct);

  /*Configure GPIO pins : G4_Pin G5_Pin B6_Pin B7_Pin */
  GPIO_InitStruct.Pin = G4_Pin|G5_Pin|B6_Pin|B7_Pin;
  GPIO_InitStruct.Mode = GPIO_MODE_AF_PP;
  GPIO_InitStruct.Pull = GPIO_NOPULL;
  GPIO_InitStruct.Speed = GPIO_SPEED_FREQ_LOW;
  GPIO_InitStruct.Alternate = GPIO_AF14_LTDC;
  HAL_GPIO_Init(GPIOB, &GPIO_InitStruct);

  /*Configure GPIO pins : OTG_HS_ID_Pin OTG_HS_DM_Pin OTG_HS_DP_Pin */
  GPIO_InitStruct.Pin = OTG_HS_ID_Pin|OTG_HS_DM_Pin|OTG_HS_DP_Pin;
  GPIO_InitStruct.Mode = GPIO_MODE_AF_PP;
  GPIO_InitStruct.Pull = GPIO_NOPULL;
  GPIO_InitStruct.Speed = GPIO_SPEED_FREQ_LOW;
  GPIO_InitStruct.Alternate = GPIO_AF12_OTG_HS_FS;
  HAL_GPIO_Init(GPIOB, &GPIO_InitStruct);

  /*Configure GPIO pin : VBUS_HS_Pin */
  GPIO_InitStruct.Pin = VBUS_HS_Pin;
  GPIO_InitStruct.Mode = GPIO_MODE_INPUT;
  GPIO_InitStruct.Pull = GPIO_NOPULL;
  HAL_GPIO_Init(VBUS_HS_GPIO_Port, &GPIO_InitStruct);

  /*Configure GPIO pins : D13_Pin D14_Pin D15_Pin D0_Pin
                           D1_Pin D2_Pin D3_Pin */
  GPIO_InitStruct.Pin = D13_Pin|D14_Pin|D15_Pin|D0_Pin
                          |D1_Pin|D2_Pin|D3_Pin;
  GPIO_InitStruct.Mode = GPIO_MODE_AF_PP;
  GPIO_InitStruct.Pull = GPIO_NOPULL;
  GPIO_InitStruct.Speed = GPIO_SPEED_FREQ_VERY_HIGH;
  GPIO_InitStruct.Alternate = GPIO_AF12_FMC;
  HAL_GPIO_Init(GPIOD, &GPIO_InitStruct);

  /*Configure GPIO pins : TE_Pin EXIT_SENSORD5_Pin */
  GPIO_InitStruct.Pin = TE_Pin|EXIT_SENSORD5_Pin;
  GPIO_InitStruct.Mode = GPIO_MODE_INPUT;
  GPIO_InitStruct.Pull = GPIO_NOPULL;
  HAL_GPIO_Init(GPIOD, &GPIO_InitStruct);

  /*Configure GPIO pins : RDX_Pin WRX_DCX_Pin */
  GPIO_InitStruct.Pin = RDX_Pin|WRX_DCX_Pin;
  GPIO_InitStruct.Mode = GPIO_MODE_OUTPUT_PP;
  GPIO_InitStruct.Pull = GPIO_NOPULL;
  GPIO_InitStruct.Speed = GPIO_SPEED_FREQ_LOW;
  HAL_GPIO_Init(GPIOD, &GPIO_InitStruct);

  /*Configure GPIO pins : PARK4_GREEN_LED_Pin PARK4_RED_LED_Pin LD3_Pin LD4_Pin */
  GPIO_InitStruct.Pin = PARK4_GREEN_LED_Pin|PARK4_RED_LED_Pin|LD3_Pin|LD4_Pin;
  GPIO_InitStruct.Mode = GPIO_MODE_OUTPUT_PP;
  GPIO_InitStruct.Pull = GPIO_NOPULL;
  GPIO_InitStruct.Speed = GPIO_SPEED_FREQ_LOW;
  HAL_GPIO_Init(GPIOG, &GPIO_InitStruct);

  /*Configure GPIO pins : R7_Pin DOTCLK_Pin B3_Pin */
  GPIO_InitStruct.Pin = R7_Pin|DOTCLK_Pin|B3_Pin;
  GPIO_InitStruct.Mode = GPIO_MODE_AF_PP;
  GPIO_InitStruct.Pull = GPIO_NOPULL;
  GPIO_InitStruct.Speed = GPIO_SPEED_FREQ_LOW;
  GPIO_InitStruct.Alternate = GPIO_AF14_LTDC;
  HAL_GPIO_Init(GPIOG, &GPIO_InitStruct);

  /*Configure GPIO pins : HSYNC_Pin G6_Pin R2_Pin */
  GPIO_InitStruct.Pin = HSYNC_Pin|G6_Pin|R2_Pin;
  GPIO_InitStruct.Mode = GPIO_MODE_AF_PP;
  GPIO_InitStruct.Pull = GPIO_NOPULL;
  GPIO_InitStruct.Speed = GPIO_SPEED_FREQ_LOW;
  GPIO_InitStruct.Alternate = GPIO_AF14_LTDC;
  HAL_GPIO_Init(GPIOC, &GPIO_InitStruct);

  /*Configure GPIO pin : I2C3_SDA_Pin */
  GPIO_InitStruct.Pin = I2C3_SDA_Pin;
  GPIO_InitStruct.Mode = GPIO_MODE_AF_OD;
  GPIO_InitStruct.Pull = GPIO_NOPULL;
  GPIO_InitStruct.Speed = GPIO_SPEED_FREQ_LOW;
  GPIO_InitStruct.Alternate = GPIO_AF4_I2C3;
  HAL_GPIO_Init(I2C3_SDA_GPIO_Port, &GPIO_InitStruct);

  /*Configure GPIO pin : I2C3_SCL_Pin */
  GPIO_InitStruct.Pin = I2C3_SCL_Pin;
  GPIO_InitStruct.Mode = GPIO_MODE_AF_OD;
  GPIO_InitStruct.Pull = GPIO_NOPULL;
  GPIO_InitStruct.Speed = GPIO_SPEED_FREQ_LOW;
  GPIO_InitStruct.Alternate = GPIO_AF4_I2C3;
  HAL_GPIO_Init(I2C3_SCL_GPIO_Port, &GPIO_InitStruct);

  /*Configure GPIO pins : G7_Pin B2_Pin */
  GPIO_InitStruct.Pin = G7_Pin|B2_Pin;
  GPIO_InitStruct.Mode = GPIO_MODE_AF_PP;
  GPIO_InitStruct.Pull = GPIO_NOPULL;
  GPIO_InitStruct.Speed = GPIO_SPEED_FREQ_LOW;
  GPIO_InitStruct.Alternate = GPIO_AF14_LTDC;
  HAL_GPIO_Init(GPIOD, &GPIO_InitStruct);

  /*Configure GPIO pin : ENTRY_SENSOR_Pin */
  GPIO_InitStruct.Pin = ENTRY_SENSOR_Pin;
  GPIO_InitStruct.Mode = GPIO_MODE_INPUT;
  GPIO_InitStruct.Pull = GPIO_NOPULL;
  HAL_GPIO_Init(ENTRY_SENSOR_GPIO_Port, &GPIO_InitStruct);

  /*Configure GPIO pins : G3_Pin B4_Pin */
  GPIO_InitStruct.Pin = G3_Pin|B4_Pin;
  GPIO_InitStruct.Mode = GPIO_MODE_AF_PP;
  GPIO_InitStruct.Pull = GPIO_NOPULL;
  GPIO_InitStruct.Speed = GPIO_SPEED_FREQ_LOW;
  GPIO_InitStruct.Alternate = GPIO_AF9_LTDC;
  HAL_GPIO_Init(GPIOG, &GPIO_InitStruct);

  /*Configure GPIO pins : SDCKE1_Pin SDNE1_Pin */
  GPIO_InitStruct.Pin = SDCKE1_Pin|SDNE1_Pin;
  GPIO_InitStruct.Mode = GPIO_MODE_AF_PP;
  GPIO_InitStruct.Pull = GPIO_NOPULL;
  GPIO_InitStruct.Speed = GPIO_SPEED_FREQ_VERY_HIGH;
  GPIO_InitStruct.Alternate = GPIO_AF12_FMC;
  HAL_GPIO_Init(GPIOB, &GPIO_InitStruct);

}

void Error_Handler(void)
{
  __disable_irq();
  while (1)
  {
  }
}
